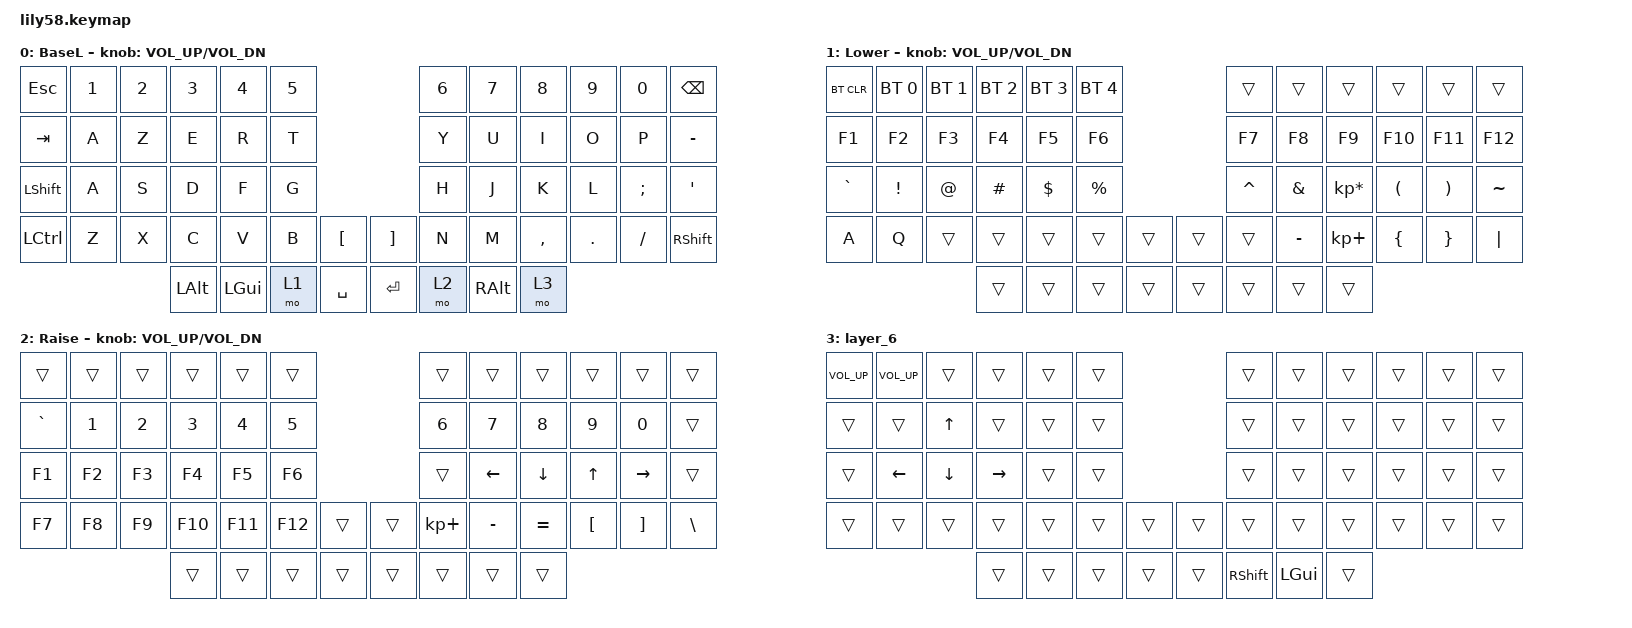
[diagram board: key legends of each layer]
/*
 * Copyright (c) 2020 The ZMK Contributors
 *
 * SPDX-License-Identifier: MIT
 */

#include <behaviors.dtsi>
#include <dt-bindings/zmk/bt.h>
#include <dt-bindings/zmk/keys.h>

/ {
    keymap {
        compatible = "zmk,keymap";

        myLayer {
            // ------------------------------------------------------------------------------------------------------------
            // |  ESC  |  1  |  2  |  3   |  4   |  5   |                   |  6   |  7    |  8    |  9   |   0   |   `   |
            // |  TAB  |  Q  |  W  |  E   |  R   |  T   |                   |  Y   |  U    |  I    |  O   |   P   |   -   |
            // |  CTRL |  A  |  S  |  D   |  F   |  G   |                   |  H   |  J    |  K    |  L   |   ;   |   '   |
            // | SHIFT |  Z  |  X  |  C   |  V   |  B   |   "["  |  |  "]"  |  N   |  M    |  ,    |  .   |   /   | SHIFT |
            //                     | ALT  | GUI  | LOWER|  SPACE |  | ENTER | RAISE| BSPC  | GUI   |

            display-name = "BaseL";
            bindings = <
&kp ESC         &kp N1  &kp N2  &kp N3    &kp N4    &kp N5                         &kp N6  &kp N7         &kp N8     &kp N9   &kp N0    &kp BACKSPACE
&kp TAB         &kp A   &kp Z   &kp E     &kp R     &kp T                          &kp Y   &kp U          &kp I      &kp O    &kp P     &kp MINUS
&kp LEFT_SHIFT  &kp A   &kp S   &kp D     &kp F     &kp G                          &kp H   &kp J          &kp K      &kp L    &kp SEMI  &kp SQT
&kp LCTRL       &kp Z   &kp X   &kp C     &kp V     &kp B   &kp LBKT     &kp RBKT  &kp N   &kp M          &kp COMMA  &kp DOT  &kp FSLH  &kp RSHFT
                                &kp LALT  &kp LGUI  &mo 1   &kp SPACE    &kp RET   &mo 2   &kp RIGHT_ALT  &mo 3
            >;

            sensor-bindings = <&inc_dec_kp C_VOL_UP C_VOL_DN>;
        };

        lower_layer {
            // ------------------------------------------------------------------------------------------------------------
            // | BTCLR | BT1 | BT2 |  BT3 |  BT4 |  BT5 |                   |      |       |       |      |       |       |
            // |  F1   |  F2 |  F3 |  F4  |  F5  |  F6  |                   |  F7  |  F8   |  F9   |  F10 |  F11  |  F12  |
            // |   `   |  !  |  @  |  #   |  $   |  %   |                   |  ^   |  &    |  *    |  (   |   )   |   ~   |
            // |       |     |     |      |      |      |        |  |       |      |  _    |  +    |  {   |   }   |  "|"  |
            //                     |      |      |      |        |  |       |      |       |       |

            display-name = "Lower";
            bindings = <
&bt BT_CLR  &bt BT_SEL 0  &bt BT_SEL 1  &bt BT_SEL 2  &bt BT_SEL 3  &bt BT_SEL 4                    &trans     &trans     &trans           &trans    &trans    &trans
&kp F1      &kp F2        &kp F3        &kp F4        &kp F5        &kp F6                          &kp F7     &kp F8     &kp F9           &kp F10   &kp F11   &kp F12
&kp GRAVE   &kp EXCL      &kp AT        &kp HASH      &kp DOLLAR    &kp PRCNT                       &kp CARET  &kp AMPS   &kp KP_MULTIPLY  &kp LPAR  &kp RPAR  &kp TILDE
&kp A       &kp Q         &trans        &trans        &trans        &trans        &trans    &trans  &trans     &kp MINUS  &kp KP_PLUS      &kp LBRC  &kp RBRC  &kp PIPE
                                        &trans        &trans        &trans        &trans    &trans  &trans     &trans     &trans
            >;

            sensor-bindings = <&inc_dec_kp C_VOL_UP C_VOL_DN>;
        };

        raise_layer {
            // ------------------------------------------------------------------------------------------------------------
            // |       |     |     |      |      |      |                   |      |       |       |      |       |       |
            // |   `   |  1  |  2  |  3   |  4   |  5   |                   |  6   |   7   |   8   |  9   |   0   |       |
            // |   F1  |  F2 |  F3 |  F4  |  F5  |  F6  |                   |      |   <-  |   v   |  ^   |  ->   |       |
            // |   F7  |  F8 |  F9 |  F10 |  F11 |  F12 |        |  |       |  +   |   -   |   =   |  [   |   ]   |   \   |
            //                     |      |      |      |        |  |       |      |       |       |

            display-name = "Raise";
            bindings = <
&trans     &trans  &trans  &trans   &trans   &trans                     &trans       &trans     &trans     &trans    &trans     &trans
&kp GRAVE  &kp N1  &kp N2  &kp N3   &kp N4   &kp N5                     &kp N6       &kp N7     &kp N8     &kp N9    &kp N0     &trans
&kp F1     &kp F2  &kp F3  &kp F4   &kp F5   &kp F6                     &trans       &kp LEFT   &kp DOWN   &kp UP    &kp RIGHT  &trans
&kp F7     &kp F8  &kp F9  &kp F10  &kp F11  &kp F12  &trans    &trans  &kp KP_PLUS  &kp MINUS  &kp EQUAL  &kp LBKT  &kp RBKT   &kp BSLH
                           &trans   &trans   &trans   &trans    &trans  &trans       &trans     &trans
            >;

            sensor-bindings = <&inc_dec_kp C_VOL_UP C_VOL_DN>;
        };

        layer_6 {
            bindings = <
&kp C_VOL_UP  &kp C_VOLUME_UP  &trans          &trans     &trans  &trans                    &trans           &trans        &trans  &trans  &trans  &trans
&trans        &trans           &kp UP_ARROW    &trans     &trans  &trans                    &trans           &trans        &trans  &trans  &trans  &trans
&trans        &kp LEFT_ARROW   &kp DOWN_ARROW  &kp RIGHT  &trans  &trans                    &trans           &trans        &trans  &trans  &trans  &trans
&trans        &trans           &trans          &trans     &trans  &trans  &trans    &trans  &trans           &trans        &trans  &trans  &trans  &trans
                                               &trans     &trans  &trans  &trans    &trans  &kp RIGHT_SHIFT  &kp LEFT_GUI  &trans
            >;
        };

        extra_1 {
            status = "reserved";
            sensor-bindings = <&inc_dec_kp 0 0>;
        };

        extra_2 { status = "reserved"; };
    };
};
